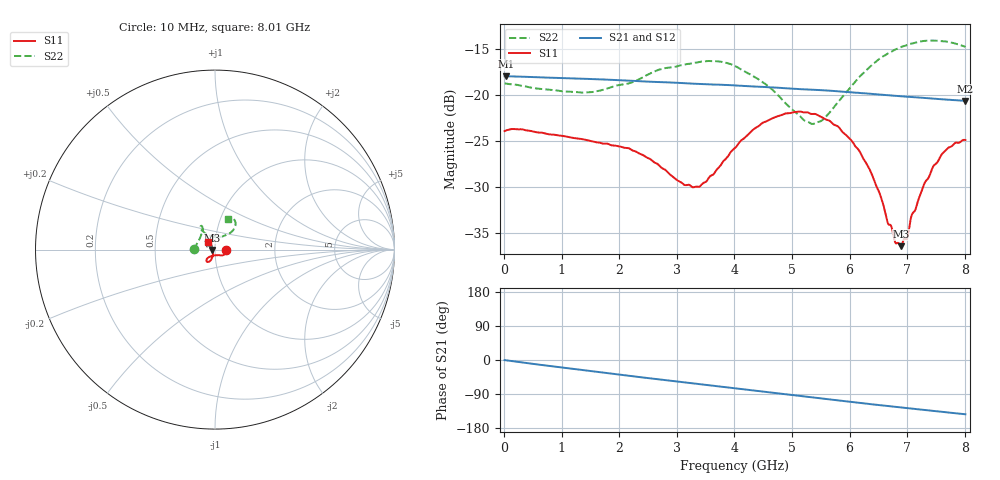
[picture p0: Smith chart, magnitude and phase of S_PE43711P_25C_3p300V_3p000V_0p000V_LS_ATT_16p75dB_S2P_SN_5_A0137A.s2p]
! Device ID: PE43711P
! File Path: z:\PE43711P\CHAR_NOM_04282014\AMB\3p300\LS_ATT_16p75dB\PE43711P_AMB_3p300V_3p000V_0p000V_LS_ATT_16p75dB_S2P_SN_5_A0137A.s2p
! Serial: 5
! Lot: A0137A
! Temp: 25C
! VDD: 3.300
! VSS: 0.000
! Control_Hi: 3.000
! Control_Lo: 0.000
! Attenuation Step: 16.75dB
! Port 1: RF1
! Port 2: RF2
! ThroughPath:1-2
! IDD: 0.000127228
! ISS: -1.445e-007
#  Hz  S  RI  R  50
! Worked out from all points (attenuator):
!   801 points, 10 MHz to 8.01 GHz, reference 50 ohm
!   highest |S21| = -17.93 dB at 30 MHz (marker M1); lowest = -20.6 dB at 8.01 GHz (marker M2)
!   lowest |S11| = -36.4 dB at 6.89 GHz (marker M3), VSWR 1.03, Z = 48.5 - j0.263 ohm
!   |S11| at or under -10 dB: start of sweep to end of sweep
!   |S22| runs from -23.1 to -14.0 dB; largest |S21 - S12| = 0.0002
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1e7  0.0639 3.68e-05  0.1269 -0.000592  0.127 -0.000605  -0.1164 0.000892
3e7  0.0644 -0.000258  0.1269 -0.00141  0.127 -0.00143  -0.1159 0.00195
1.35e9  0.0506 -0.028  0.1104 -0.0547  0.1105 -0.0547  -0.0904 0.0504
2.16e9  0.0395 -0.0332  0.09 -0.0798  0.0901 -0.0798  -0.0718 0.0911
2.68e9  0.0277 -0.0315  0.0745 -0.0917  0.0745 -0.0917  -0.0687 0.1192
3.12e9  0.011 -0.0308  0.0601 -0.0998  0.0601 -0.0999  -0.071 0.1284
3.37e9  -0.000178 -0.0318  0.0518 -0.1031  0.0518 -0.1032  -0.0738 0.1322
4.01e9  -0.0319 -0.0408  0.0296 -0.1093  0.0296 -0.1093  -0.0818 0.119
4.69e9  -0.0477 -0.0587  0.00582 -0.1101  0.00578 -0.1101  -0.0538 0.0901
5.35e9  -0.0399 -0.0683  -0.016 -0.1061  -0.016 -0.1062  0.00256 0.0698
5.54e9  -0.034 -0.0673  -0.022 -0.1042  -0.022 -0.1043  0.0233 0.0701
5.79e9  -0.0263 -0.0627  -0.0298 -0.1009  -0.0298 -0.1009  0.0499 0.0762
6.16e9  -0.0166 -0.0474  -0.0402 -0.095  -0.0403 -0.0951  0.0843 0.0923
6.38e9  -0.0129 -0.0353  -0.0459 -0.091  -0.0459 -0.0911  0.0996 0.106
6.68e9  -0.0128 -0.0151  -0.0526 -0.0851  -0.0525 -0.0852  0.1115 0.1285
6.8e9  -0.0134 -0.00812  -0.0551 -0.0826  -0.0551 -0.0827  0.1138 0.1369
6.89e9  -0.0149 -0.00271  -0.0569 -0.0808  -0.0569 -0.0808  0.1149 0.1424
6.99e9  -0.0162 0.00309  -0.0588 -0.0787  -0.0588 -0.0788  0.1147 0.148
7.09e9  -0.0205 0.00977  -0.0608 -0.0767  -0.0607 -0.0767  0.1131 0.1546
7.46e9  -0.0301 0.0284  -0.0673 -0.0684  -0.0673 -0.0685  0.1002 0.1713
7.7e9  -0.0367 0.036  -0.0707 -0.063  -0.0707 -0.0629  0.087 0.1752
8.01e9  -0.0406 0.0402  -0.0748 -0.0559  -0.0749 -0.0557  0.0728 0.1682
